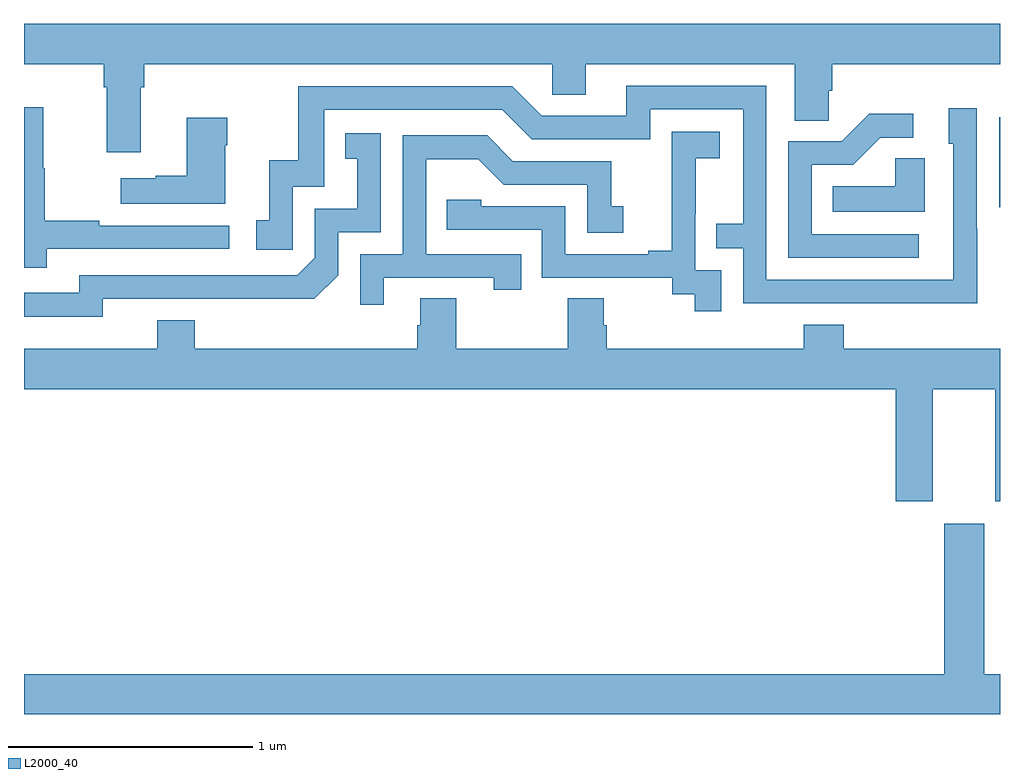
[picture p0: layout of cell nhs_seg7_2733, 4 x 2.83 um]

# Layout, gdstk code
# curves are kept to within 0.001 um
import gdstk
lib = gdstk.Library(unit=1e-6, precision=1e-09)
def R(c, l, rs):  # rectangles x0, y0, x1, y1
    for r in rs: c.add(gdstk.rectangle(r[:2], r[2:], *l))
def P(c, l, *ps):  # polygons
    for p in ps: c.add(gdstk.Polygon(p, *l))
L2000_40 = (2000, 40)

nhs_seg7_2733 = lib.new_cell('nhs_seg7_2733')
R(nhs_seg7_2733, L2000_40, [(290.997,1050.645,291,1051.014)])
P(nhs_seg7_2733, L2000_40, [(287.479,1051.136),(287.492,1051.136),(287.492,1051.232),(289.164,1051.232),(289.164,1051.105),(289.303,1051.105),(289.303,1051.232),(290.159,1051.232),(290.159,1051),(290.298,1051),(290.298,1051.123),(290.312,1051.123),(290.312,1051.232),(291,1051.232),(291,1051.396),(287,1051.396),(287,1051.232),(287.327,1051.232),(287.327,1051.136),(287.339,1051.136),(287.339,1050.87),(287.479,1050.87)],
  [(290.907,1050.557),(290.904,1050.557),(290.904,1051.051),(290.789,1051.051),(290.789,1050.906),(290.808,1050.906),(290.808,1050.348),(290.043,1050.348),(290.043,1051.143),(289.469,1051.143),(289.469,1051.02),(289.122,1051.02),(289.002,1051.14),(288.123,1051.14),(288.123,1050.838),(288.005,1050.838),(288.005,1050.591),(287.952,1050.591),(287.952,1050.471),(288.102,1050.471),(288.102,1050.729),(288.231,1050.729),(288.231,1051.044),(288.96,1051.044),(289.08,1050.924),(289.566,1050.924),(289.566,1051.047),(289.947,1051.047),(289.947,1050.578),(289.837,1050.578),(289.837,1050.477),(289.947,1050.477),(289.947,1050.252),(290.907,1050.251)],
  [(287.093,1050.474),(287.842,1050.474),(287.842,1050.57),(287.309,1050.57),(287.309,1050.59),(287.086,1050.59),(287.086,1050.804),(287.078,1050.804),(287.078,1051.054),(287,1051.054),(287,1050.396),(287.093,1050.396)],
  [(290.668,1050.534),(290.229,1050.534),(290.229,1050.819),(290.398,1050.819),(290.509,1050.93),(290.644,1050.93),(290.644,1051.028),(290.465,1051.028),(290.352,1050.915),(290.133,1050.915),(290.133,1050.438),(290.668,1050.438)],
  [(287.824,1050.899),(287.832,1050.899),(287.832,1051.012),(287.666,1051.012),(287.666,1050.773),(287.54,1050.773),(287.54,1050.763),(287.397,1050.763),(287.397,1050.659),(287.824,1050.659)],
  [(289.857,1050.387),(289.752,1050.387),(289.752,1050.617),(289.754,1050.617),(289.754,1050.845),(289.852,1050.845),(289.852,1050.955),(289.654,1050.955),(289.654,1050.749),(289.655,1050.749),(289.655,1050.466),(289.559,1050.466),(289.559,1050.453),(289.218,1050.453),(289.218,1050.648),(288.873,1050.648),(288.873,1050.675),(288.733,1050.675),(288.733,1050.552),(289.122,1050.552),(289.122,1050.357),(289.656,1050.357),(289.656,1050.289),(289.749,1050.289),(289.749,1050.219),(289.857,1050.219)],
  [(287.322,1050.27),(288.19,1050.269),(288.288,1050.366),(288.288,1050.543),(288.462,1050.543),(288.462,1050.949),(288.316,1050.949),(288.316,1050.843),(288.365,1050.843),(288.365,1050.639),(288.192,1050.639),(288.192,1050.438),(288.12,1050.366),(287.226,1050.366),(287.226,1050.294),(287,1050.294),(287,1050.197),(287.322,1050.197)],
  [(288.475,1050.357),(288.926,1050.357),(288.926,1050.306),(289.037,1050.306),(289.037,1050.453),(288.648,1050.453),(288.648,1050.842),(288.862,1050.842),(288.966,1050.738),(289.308,1050.738),(289.308,1050.54),(289.456,1050.54),(289.456,1050.649),(289.407,1050.649),(289.407,1050.834),(289.003,1050.834),(288.898,1050.939),(288.552,1050.939),(288.552,1050.453),(288.378,1050.453),(288.378,1050.246),(288.475,1050.246)],
  [(290.692,1050.845),(290.571,1050.845),(290.571,1050.73),(290.314,1050.73),(290.314,1050.626),(290.692,1050.626)],
  [(290.725,1049.9),(290.981,1049.9),(290.981,1049.439),(291,1049.439),(291,1050.064),(290.36,1050.064),(290.36,1050.163),(290.195,1050.163),(290.195,1050.064),(289.388,1050.064),(289.388,1050.162),(289.375,1050.162),(289.375,1050.272),(289.228,1050.272),(289.228,1050.064),(288.771,1050.064),(288.771,1050.272),(288.623,1050.272),(288.623,1050.162),(288.611,1050.162),(288.611,1050.064),(287.699,1050.064),(287.699,1050.181),(287.546,1050.181),(287.546,1050.064),(287,1050.064),(287,1049.9),(290.573,1049.9),(290.573,1049.439),(290.725,1049.439)],
  [(291,1048.732),(290.935,1048.732),(290.935,1049.347),(290.771,1049.347),(290.771,1048.732),(287,1048.732),(287,1048.568),(291,1048.568)])

lib.write_gds('nhs_seg7_2733.gds')
